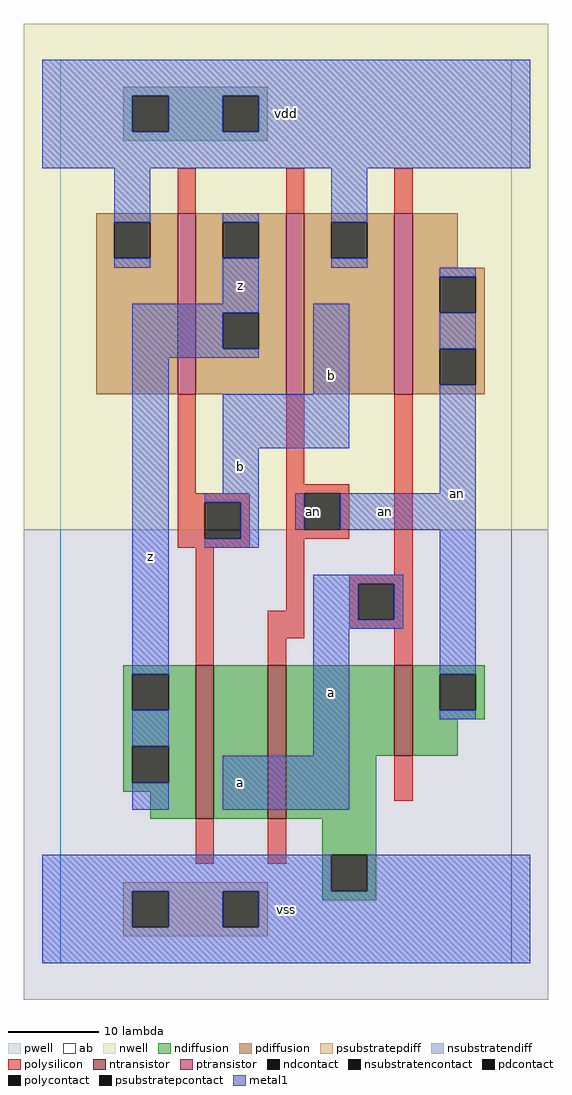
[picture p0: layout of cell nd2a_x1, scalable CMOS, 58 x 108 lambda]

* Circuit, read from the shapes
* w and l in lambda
.subckt nd2a_x1 a an b vdd vss z
M1 n1 b z vss nfet w=17 l=2
M2 vss an n1 vss nfet w=17 l=2
M3 an a vss vss nfet w=10 l=2
M4 z b vdd vdd pfet w=20 l=2
M5 vdd an z vdd pfet w=20 l=2
M6 an a vdd vdd pfet w=20 l=2
.ends

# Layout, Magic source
magic
tech scmos
<< ab >>
rect 0 0 50 100
<< pwell >>
rect -4 -4 54 48
<< nwell >>
rect -4 48 54 104
<< polysilicon >>
rect 13 83 15 88
rect 25 83 27 88
rect 37 83 39 88
rect 13 52 15 63
rect 25 53 27 63
rect 25 52 32 53
rect 13 51 21 52
rect 13 47 16 51
rect 20 47 21 51
rect 13 46 21 47
rect 25 48 27 52
rect 31 48 32 52
rect 25 47 32 48
rect 15 33 17 46
rect 25 39 27 47
rect 37 43 39 63
rect 23 36 27 39
rect 32 42 39 43
rect 32 38 33 42
rect 37 38 39 42
rect 32 37 39 38
rect 23 33 25 36
rect 37 33 39 37
rect 37 18 39 23
rect 15 11 17 16
rect 23 11 25 16
<< ndiffusion >>
rect 7 32 15 33
rect 7 28 8 32
rect 12 28 15 32
rect 7 24 15 28
rect 7 20 8 24
rect 12 20 15 24
rect 7 19 15 20
rect 10 16 15 19
rect 17 16 23 33
rect 25 23 37 33
rect 39 32 47 33
rect 39 28 42 32
rect 46 28 47 32
rect 39 27 47 28
rect 39 23 44 27
rect 25 16 35 23
rect 29 12 35 16
rect 29 8 30 12
rect 34 8 35 12
rect 29 7 35 8
<< pdiffusion >>
rect 4 82 13 83
rect 4 78 6 82
rect 10 78 13 82
rect 4 63 13 78
rect 15 82 25 83
rect 15 78 18 82
rect 22 78 25 82
rect 15 72 25 78
rect 15 68 18 72
rect 22 68 25 72
rect 15 63 25 68
rect 27 82 37 83
rect 27 78 30 82
rect 34 78 37 82
rect 27 63 37 78
rect 39 77 44 83
rect 39 76 47 77
rect 39 72 42 76
rect 46 72 47 76
rect 39 68 47 72
rect 39 64 42 68
rect 46 64 47 68
rect 39 63 47 64
<< metal1 >>
rect -2 96 52 100
rect -2 92 8 96
rect 12 92 18 96
rect 22 92 52 96
rect -2 88 52 92
rect 6 82 10 88
rect 6 77 10 78
rect 18 82 22 83
rect 18 73 22 78
rect 30 82 34 88
rect 30 77 34 78
rect 42 76 46 77
rect 8 72 22 73
rect 8 68 18 72
rect 8 67 22 68
rect 8 32 12 67
rect 28 63 32 73
rect 18 57 32 63
rect 42 68 46 72
rect 18 52 22 57
rect 42 52 46 64
rect 16 51 22 52
rect 20 47 22 51
rect 26 48 27 52
rect 31 48 46 52
rect 16 46 22 47
rect 8 24 12 28
rect 28 42 38 43
rect 28 38 33 42
rect 37 38 38 42
rect 28 37 38 38
rect 28 23 32 37
rect 42 32 46 48
rect 42 27 46 28
rect 8 17 12 20
rect 18 17 32 23
rect -2 8 30 12
rect 34 8 52 12
rect -2 4 8 8
rect 12 4 18 8
rect 22 4 52 8
rect -2 0 52 4
<< ntransistor >>
rect 15 16 17 33
rect 23 16 25 33
rect 37 23 39 33
<< ptransistor >>
rect 13 63 15 83
rect 25 63 27 83
rect 37 63 39 83
<< polycontact >>
rect 16 47 20 51
rect 27 48 31 52
rect 33 38 37 42
<< ndcontact >>
rect 8 28 12 32
rect 8 20 12 24
rect 42 28 46 32
rect 30 8 34 12
<< pdcontact >>
rect 6 78 10 82
rect 18 78 22 82
rect 18 68 22 72
rect 30 78 34 82
rect 42 72 46 76
rect 42 64 46 68
<< psubstratepcontact >>
rect 8 4 12 8
rect 18 4 22 8
<< nsubstratencontact >>
rect 8 92 12 96
rect 18 92 22 96
<< psubstratepdiff >>
rect 7 8 23 9
rect 7 4 8 8
rect 12 4 18 8
rect 22 4 23 8
rect 7 3 23 4
<< nsubstratendiff >>
rect 7 96 23 97
rect 7 92 8 96
rect 12 92 18 96
rect 22 92 23 96
rect 7 91 23 92
<< labels >>
rlabel polycontact 28 50 28 50 6 an
rlabel metal1 20 20 20 20 6 a
rlabel metal1 10 45 10 45 6 z
rlabel metal1 20 55 20 55 6 b
rlabel metal1 20 75 20 75 6 z
rlabel metal1 25 6 25 6 6 vss
rlabel metal1 30 30 30 30 6 a
rlabel metal1 30 65 30 65 6 b
rlabel metal1 25 94 25 94 6 vdd
rlabel metal1 36 50 36 50 6 an
rlabel metal1 44 52 44 52 6 an
<< end >>
